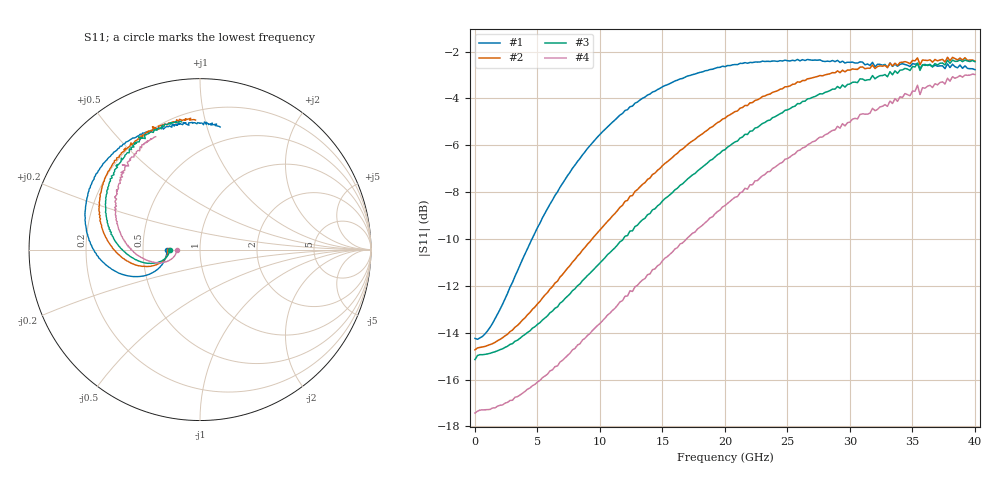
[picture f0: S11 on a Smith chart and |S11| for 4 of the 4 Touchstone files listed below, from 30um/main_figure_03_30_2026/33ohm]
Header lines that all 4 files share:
!Agilent Technologies,N5227A,US51270434,A.10.00.00
!Agilent N5227A: A.10.00.00
!Correction: S11(Full 1 Port(1))
!S1P File: Measurement: S11:
# Hz S  dB  R 50
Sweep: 10 MHz to 40 GHz
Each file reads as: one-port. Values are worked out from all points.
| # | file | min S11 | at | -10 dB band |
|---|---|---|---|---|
| 1 | Bias_0V_33ohm.s1p | -14.3 dB | 209.9 MHz | over 4.561 GHz wide |
| 2 | Bias_-3V_33ohm.s1p | -14.7 dB | 10 MHz | over 9.364 GHz wide |
| 3 | Bias_-4V_33ohm.s1p | -15.1 dB | 10 MHz | over 11.86 GHz wide |
| 4 | Bias_-7V_33ohm.s1p | -17.4 dB | 10 MHz | over 16.92 GHz wide |
